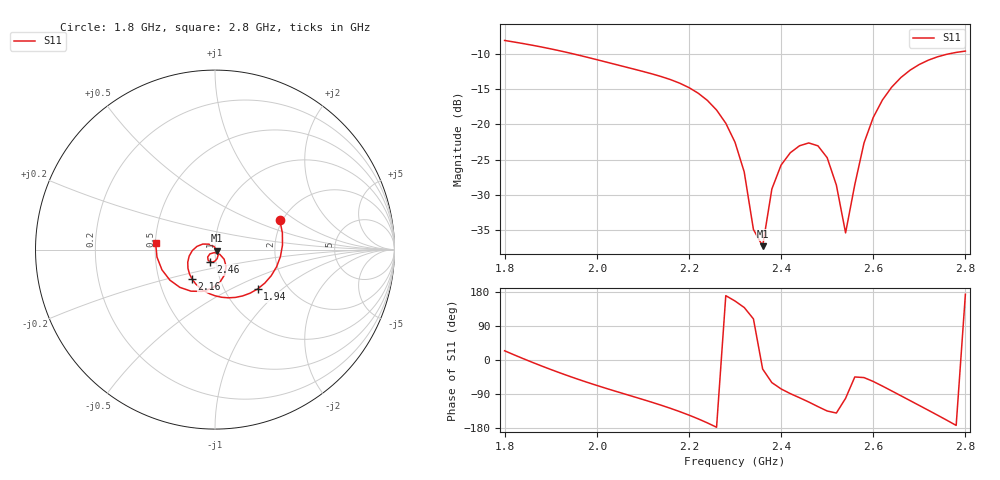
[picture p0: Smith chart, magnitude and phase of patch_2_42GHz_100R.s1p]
! Touchstone file exported from HFSS 2024.1.0
!  File:  /home/ubuntu/Ansoft/repo/patch_2_42GHz/sim_2_42GHz_2.aedt
!  Generated:  09:00:04 AM Nov 11, 2024
!  Design:  HFSSDesign1
!  Project:  sim_2_42GHz_2
!  Setup:  Setup1
!  Solution:  Sweep
! Variables:
!  R0 = 100ohm
!  pad = 45mm
# GHz S MA R 50.000000
! Terminal data exported
! Port[1] = u141_0711_201_1_pin_T1
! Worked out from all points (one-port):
!   51 points, 1.8 GHz to 2.8 GHz, reference 50 ohm
!   lowest |S11| = -37.3 dB at 2.36 GHz (marker M1), VSWR 1.03, Z = 51.3 - j0.563 ohm
!   |S11| at or under -10 dB: 1.952 GHz to 2.76 GHz (807.7 MHz wide, 34.3 % of centre)
!   S11 on the Smith chart (normalised r, x): 1.8 GHz: 1.94, +0.75; 1.94 GHz: 1.42, -0.70; 2.16 GHz: 0.74, -0.25; 2.46 GHz: 0.94, -0.13; 2.8 GHz: 0.50, +0.04
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1.8  0.3964 24.3
1.86  0.3667 -6.1
1.94  0.3232 -42.7
2  0.2894 -67.1
2.06  0.2578 -89.5
2.16  0.2086 -127.6
2.18  0.1968 -136.2
2.22  0.1671 -155.3
2.26  0.1267 -177.5
2.3  0.07475 155.7
2.32  0.04592 138.6
2.34  0.01788 108.5
2.36  0.01359 -23.8
2.38  0.03471 -59.7
2.4  0.05138 -76.3
2.44  0.0705 -99.6
2.46  0.07387 -110.8
2.48  0.07046 -123.0
2.5  0.05801 -134.6
2.52  0.03701 -139.9
2.54  0.0169 -101.1
2.56  0.03732 -44.7
2.58  0.07386 -46.4
2.6  0.1122 -56.6
2.64  0.1843 -81.5
2.68  0.2436 -107.2
2.74  0.3036 -145.9
2.8  0.3331 173.5
